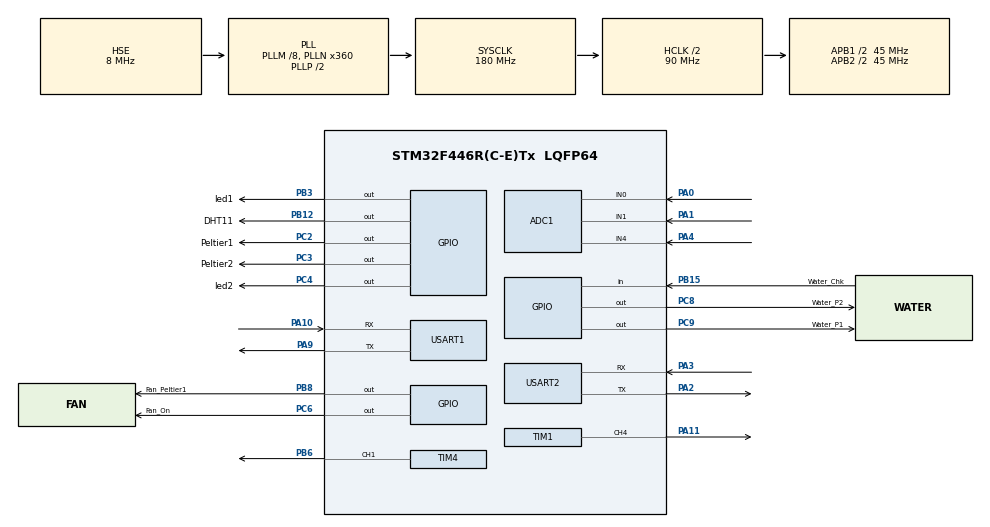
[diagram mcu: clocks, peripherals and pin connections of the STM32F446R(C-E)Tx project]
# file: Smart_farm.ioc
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ADC1.Channel-10\#ChannelRegularConversion=ADC_CHANNEL_0
ADC1.ContinuousConvMode=DISABLE
ADC1.NbrOfConversion=1
ADC1.NbrOfConversionFlag=1
ADC1.Rank-10\#ChannelRegularConversion=1
ADC1.SamplingTime-10\#ChannelRegularConversion=ADC_SAMPLETIME_3CYCLES
ADC1.master=1
Mcu.Family=STM32F4
Mcu.Name=STM32F446R(C-E)Tx
Mcu.Package=LQFP64
NVIC.PriorityGroup=NVIC_PRIORITYGROUP_4
NVIC.TIM1_BRK_TIM9_IRQn=true\:0\:0\:false\:false\:true\:true\:true\:true
NVIC.TIM2_IRQn=true\:0\:0\:false\:true\:true\:2\:true\:true\:true
NVIC.TIM3_IRQn=true\:0\:0\:false\:true\:true\:1\:true\:true\:true
NVIC.TIM5_IRQn=true\:0\:0\:false\:true\:true\:3\:true\:true\:true
NVIC.TIM8_TRG_COM_TIM14_IRQn=true\:15\:0\:false\:false\:true\:false\:true\:true
NVIC.TimeBase=TIM8_TRG_COM_TIM14_IRQn
NVIC.TimeBaseIP=TIM14
PA0-WKUP.Signal=ADCx_IN0
PA1.Signal=ADCx_IN1
PA10.Mode=Asynchronous
PA10.Signal=USART1_RX
PA11.GPIO_Speed=GPIO_SPEED_FREQ_HIGH
PA11.Signal=S_TIM1_CH4
PA13.Mode=Serial_Wire
PA13.Signal=SYS_JTMS-SWDIO
PA14.Mode=Serial_Wire
PA14.Signal=SYS_JTCK-SWCLK
PA2.Mode=Asynchronous
PA2.Signal=USART2_TX
PA3.Mode=Asynchronous
PA3.Signal=USART2_RX
PA4.Signal=ADCx_IN4
PA9.Mode=Asynchronous
PA9.Signal=USART1_TX
PB12.GPIO_Label=DHT11
PB12.GPIO_Speed=GPIO_SPEED_FREQ_VERY_HIGH
PB12.Signal=GPIO_Output
PB15.GPIO_Label=Water_Chk
PB15.Signal=GPIO_Input
PB3.GPIO_Label=led1
PB3.Signal=GPIO_Output
PB6.Signal=S_TIM4_CH1
PB8.GPIO_Label=Fan_Peltier1
PB8.Signal=GPIO_Output
PC14-OSC32_IN.Mode=LSE-External-Oscillator
PC14-OSC32_IN.Signal=RCC_OSC32_IN
PC15-OSC32_OUT.Mode=LSE-External-Oscillator
PC15-OSC32_OUT.Signal=RCC_OSC32_OUT
PC2.GPIO_Label=Peltier1
PC2.Signal=GPIO_Output
PC3.GPIO_Label=Peltier2
PC3.Signal=GPIO_Output
PC4.GPIO_Label=led2
PC4.Signal=GPIO_Output
PC6.GPIO_Label=Fan_On
PC6.Signal=GPIO_Output
PC8.GPIO_Label=Water_P2
PC8.GPIO_Speed=GPIO_SPEED_FREQ_HIGH
PC8.Signal=GPIO_Output
PC9.GPIO_Label=Water_P1
PC9.GPIO_Speed=GPIO_SPEED_FREQ_HIGH
PC9.Signal=GPIO_Output
PH0-OSC_IN.Mode=HSE-External-Oscillator
PH0-OSC_IN.Signal=RCC_OSC_IN
PH1-OSC_OUT.Mode=HSE-External-Oscillator
PH1-OSC_OUT.Signal=RCC_OSC_OUT
ProjectManager.HeapSize=0x200
ProjectManager.StackSize=0x400
ProjectManager.TargetToolchain=STM32CubeIDE
RCC.AHBCLKDivider=RCC_SYSCLK_DIV2
RCC.AHBFreq_Value=90000000
RCC.APB1CLKDivider=RCC_HCLK_DIV2
RCC.APB1Freq_Value=45000000
RCC.APB1TimFreq_Value=90000000
RCC.APB2CLKDivider=RCC_HCLK_DIV2
RCC.APB2Freq_Value=45000000
RCC.APB2TimFreq_Value=90000000
RCC.CortexFreq_Value=90000000
RCC.HCLKFreq_Value=90000000
RCC.HSE_VALUE=8000000
RCC.PLLM=8
RCC.PLLN=360
RCC.PLLSourceVirtual=RCC_PLLSOURCE_HSE
RCC.SYSCLKFreq_VALUE=180000000
RCC.SYSCLKSource=RCC_SYSCLKSOURCE_PLLCLK
RCC.USBFreq_Value=180000000
RCC.VCOOutputFreq_Value=360000000
SH.ADCx_IN0.0=ADC1_IN0,IN0
SH.ADCx_IN1.0=ADC1_IN1,IN1
SH.ADCx_IN4.0=ADC1_IN4,IN4
SH.S_TIM1_CH4.0=TIM1_CH4,PWM Generation4 CH4
SH.S_TIM4_CH1.0=TIM4_CH1,PWM Generation1 CH1
TIM1.Channel-PWM\ Generation4\ CH4=TIM_CHANNEL_4
TIM1.Period=60000-1
TIM1.Prescaler=45-1
TIM2.AutoReloadPreload=TIM_AUTORELOAD_PRELOAD_ENABLE
TIM2.Period=1000-1
TIM2.Prescaler=9000-1
TIM3.Period=60000-1
TIM3.Prescaler=45000-1
TIM4.Channel-PWM\ Generation1\ CH1=TIM_CHANNEL_1
TIM4.Period=15000-1
TIM4.Prescaler=90-1
TIM5.Period=1000-1
TIM5.Prescaler=9000-1
USART1.VirtualMode=VM_ASYNC
USART2.VirtualMode=VM_ASYNC
VP_SYS_VS_tim14.Mode=TIM14
VP_TIM1_VS_ClockSourceINT.Mode=Internal
VP_TIM2_VS_ClockSourceINT.Mode=Internal
VP_TIM3_VS_ClockSourceINT.Mode=Internal
VP_TIM4_VS_ClockSourceINT.Mode=Internal
VP_TIM5_VS_ClockSourceINT.Mode=Internal
VP_TIM6_VS_ClockSourceINT.Mode=Enable_Timer
board=custom

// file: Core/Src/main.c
/* USER CODE BEGIN Header */
/**
  ******************************************************************************
  * @file           : main.c
  * @brief          : Main program body
  ******************************************************************************
  * @attention
  *
  * Copyright (c) 2025 STMicroelectronics.
  * All rights reserved.
  *
  * This software is licensed under terms that can be found in the LICENSE file
  * in the root directory of this software component.
  * If no LICENSE file comes with this software, it is provided AS-IS.
  *
  ******************************************************************************
  */
/* USER CODE END Header */
#include "main.h"
#include "adc.h"
#include "tim.h"
#include "usart.h"
#include "gpio.h"

/* USER CODE BEGIN Includes */
#include <stdio.h>
#include <stdlib.h>
#include <string.h>

#define printf_en 1
#define USART_Ch_1_EN	3
#define Console_Ch2   2
#define dht11_en 3
#define Ch1	1
#define cds_en	2
#define co2_en	3
#define w_height_en	4
#define servo_en 5
#define water_pump_en 	6
#define fan_en 6
#define light_en 6
#define pelt_en 6
#include "my_library.h"

#define Out_Bit(port, pin, out_data_bits) HAL_GPIO_WritePin(port, pin, out_data_bits)
#define MAX_VALUES 4
#define MAX_STR_LEN 20

/* USER CODE END Includes */

/* USER CODE BEGIN PTD */
char Test_Msg[16];
char pass_sig[] = "Pass\r\n";
char msg_to_Rpi[64];
char Cmd_Msg[80];
extern int Cmd_values[4];
char message[16];
uint8_t Sensor_flag = 0;
uint8_t act_flag =0;

static void MX_NVIC_Init(void);
struct Sensor_Value{
	  float TEMP;		// 온도
	  float RH;			// 습도
	  float lux ;				// 밝기
	  float co2 ;				// c02 ppm
	  float w_1;		// 둘 중 하나
}sen_val = {0.0, 0.0, 0.0, 0.0, 0.0};
struct Sensor_Value *sen_v = &sen_val;

struct flags{
	uint8_t water_sensor_flag;
	uint8_t timer1;
	uint8_t timer2;
}FLAGS = {0,0,0};
struct flags *flag = &FLAGS;

extern ADC_HandleTypeDef hadc1;
uint8_t read_temp = 0;
void HAL_TIM_MspPostInit(TIM_HandleTypeDef *htim);
/* USER CODE END PTD */

void SystemClock_Config(void);
static void MX_NVIC_Init(void);

int main(void)
{

  /* MCU Configuration--------------------------------------------------------*/

  /* Reset of all peripherals, Initializes the Flash interface and the Systick. */
  HAL_Init();

  /* Configure the system clock */
  SystemClock_Config();

  /* Initialize all configured peripherals */
  MX_GPIO_Init();
  MX_TIM6_Init();
  MX_USART1_UART_Init();
  MX_USART2_UART_Init();
  MX_ADC1_Init();
  MX_TIM1_Init();
  MX_TIM2_Init();
  MX_TIM3_Init();
  MX_TIM4_Init();
  MX_TIM5_Init();

  /* Initialize interrupts */
  MX_NVIC_Init();
  /* USER CODE BEGIN 2 */
  HAL_TIM_Base_Start_IT(&htim6);
  HAL_TIM_Base_Start(&htim1);
  HAL_TIM_Base_Start_IT(&htim3);
  HAL_TIM_Base_Start_IT(&htim5);

  HAL_ADC_Start(&hadc1);
  HAL_ADC_PollForConversion(&hadc1, HAL_MAX_DELAY);
  //HAL_TIM_PWM_Start(&htim1, TIM_CHANNEL_3);

  uint8_t adc_value = 0;

  HAL_TIM_Base_Start_IT(&htim2);
  HAL_TIM_PWM_Start(&htim4, TIM_CHANNEL_1);
  fan_off();
  Water_P1_Stop();
  Water_P2_Stop();
  //light_off();
//  printf("Warming up RX-9 Sensor    \r\n");
//  HAL_Delay(180000);

  /* USER CODE END 2 */

  /* Infinite loop */
  /* USER CODE BEGIN WHILE */
  while (1)
  {

	  			  float TEMP1 = DHT11_Run_TEMP();		// 온도
	  			  float RH1 = DHT11_Run_RH();			// 습도
	  			  float lux1 = read_light();
	  			  printf("TEMP : %.1f RH : %.1f lux : %.1f\r\n", TEMP1, RH1, lux1);
	  //serial input에 따라
	  //receive start data	= STM32 Test Mode\n

//	  if( Sensor_flag == 0)
//	  {
//		  printf("Waiting Rpi Test Mode Msg\r\n");
//		  if(HAL_UART_Receive(&huart1, (uint8_t *)Test_Msg, 16, 1000)== HAL_OK)
//		  {
//			  printf("pass1\r\n");
//
//			  Test_Msg[15] = '\0'; // 강제로 문자열 종료
//			  printf("Received data = %s\r\n", Test_Msg);
//			  float TEMP1 = DHT11_Run_TEMP();		// 온도
//			  float RH1 = DHT11_Run_RH();			// 습도
//			  float lux1 = read_light();
//			  printf("TEMP : %.1f RH : %.1f lux : %.1f\r\n", TEMP1, RH1, lux1);
//			  if (strcmp(Test_Msg, "\nSTM32 Test Mod") == 0)
//			  {
//				  printf("pass2\r\n");
//				  if(DHT11_Sensor_Test()&&check_light())
//				  {
//					  Sensor_flag = 1;
//					  printf("Sensor Check Complete\r\n");
//					  HAL_UART_Transmit(&huart1, (uint8_t*)pass_sig, strlen(pass_sig), 10);
//
//				  }
//			  }
//		  }
//	  }
//	  else
//	  {
//		  //물 순환 시작
//		  //인터럽트로 1분마다 읽게 만들거
//		  float TEMP = DHT11_Run_TEMP();		// 온도
//		  float RH = DHT11_Run_RH();			// 습도
//		  float lux = read_light_lux();				// 전압값(0~4096)
//		  float co2 = read_co2();				// c02 ppm
//	  	  float w_1 = isWaterDetected1();		// 둘 중 하나 -> 타이머 인터럽트
//	  	  read_temp++;
//	  	  act_flag = 0;
//
//		  // 보내야할 값 4개
//		  // 둘 중 하나 사용
//		  printf("TEMP : %.1f RH : %.1f co2 : %.1f lux : %.1f water : %.1f\r\n", TEMP, RH, co2, lux,w_1);
//		  printf("read_temp  = %d\r\n", read_temp);
//		  //tim 인터럽트로 인해 flag ==1로 만들어서 값 보내기
//		  if(TEMP && read_temp == 6){
//			  // co2,w_height level 반환 대신 그냥 adc값 반환하도록 변경해야됨
//			  // 둘 중 하나 사용
//			  read_temp = 0;
//			  sprintf(msg_to_Rpi, "%.1f,%.1f,%.1f,%.1f,%.1f\r\n", TEMP, RH,co2,lux,w_1);
//			  HAL_UART_Transmit(&huart1, (char *)msg_to_Rpi, strlen(msg_to_Rpi), 10);
//		  }
//		  	  // 제어 신호 받으면?????
//		  if(HAL_UART_Receive(&huart1, (uint8_t *)Cmd_Msg, 8, 1000)== HAL_OK)
//		  {
//			  //제어 명령어 -  팬+팰티어, led. 팬, 모터 센서(급수)
//			  printf("Received data\r\n");
//			  Cmd_Msg[8] = '\0';
//			  printf("Cmd_Msg = %s",Cmd_Msg); // 강제로 문자열 종료
//			  parse_fixed_csv(Cmd_Msg);
//			  for (int i = 0; i < 4; i++)
//			  {
//				  printf("Cmd_values[%d] = %d\r\n", i, Cmd_values[i]);  // 문제 잡기 물 센서 위치에 따라
//			  }
//	  	  	  process_commands(Cmd_values);
//
//		  }
//		  else{
//			  printf("Receive stage pass\r\n");
//		  }
//		  HAL_Delay(5000);		//1분
//	  }
//	  HAL_Delay(5000);			//5초
  }

    /* USER CODE END WHILE */

}

void SystemClock_Config(void)
{
  RCC_OscInitTypeDef RCC_OscInitStruct = {0};
  RCC_ClkInitTypeDef RCC_ClkInitStruct = {0};

  /** Configure the main internal regulator output voltage
  */
  __HAL_RCC_PWR_CLK_ENABLE();
  __HAL_PWR_VOLTAGESCALING_CONFIG(PWR_REGULATOR_VOLTAGE_SCALE3);

  /** Initializes the RCC Oscillators according to the specified parameters
  * in the RCC_OscInitTypeDef structure.
  */
  RCC_OscInitStruct.OscillatorType = RCC_OSCILLATORTYPE_HSE;
  RCC_OscInitStruct.HSEState = RCC_HSE_ON;
  RCC_OscInitStruct.PLL.PLLState = RCC_PLL_ON;
  RCC_OscInitStruct.PLL.PLLSource = RCC_PLLSOURCE_HSE;
  RCC_OscInitStruct.PLL.PLLM = 8;
  RCC_OscInitStruct.PLL.PLLN = 360;
  RCC_OscInitStruct.PLL.PLLP = RCC_PLLP_DIV2;
  RCC_OscInitStruct.PLL.PLLQ = 2;
  RCC_OscInitStruct.PLL.PLLR = 2;
  if (HAL_RCC_OscConfig(&RCC_OscInitStruct) != HAL_OK)
  {
    Error_Handler();
  }

  /** Initializes the CPU, AHB and APB buses clocks
  */
  RCC_ClkInitStruct.ClockType = RCC_CLOCKTYPE_HCLK|RCC_CLOCKTYPE_SYSCLK
                              |RCC_CLOCKTYPE_PCLK1|RCC_CLOCKTYPE_PCLK2;
  RCC_ClkInitStruct.SYSCLKSource = RCC_SYSCLKSOURCE_PLLCLK;
  RCC_ClkInitStruct.AHBCLKDivider = RCC_SYSCLK_DIV2;
  RCC_ClkInitStruct.APB1CLKDivider = RCC_HCLK_DIV2;
  RCC_ClkInitStruct.APB2CLKDivider = RCC_HCLK_DIV2;

  if (HAL_RCC_ClockConfig(&RCC_ClkInitStruct, FLASH_LATENCY_2) != HAL_OK)
  {
    Error_Handler();
  }
}

/**
  * @brief NVIC Configuration.
  * @retval None
  */
static void MX_NVIC_Init(void)
{
  /* TIM3_IRQn interrupt configuration */
  HAL_NVIC_SetPriority(TIM3_IRQn, 0, 0);
  HAL_NVIC_EnableIRQ(TIM3_IRQn);
  /* TIM2_IRQn interrupt configuration */
  HAL_NVIC_SetPriority(TIM2_IRQn, 0, 0);
  HAL_NVIC_EnableIRQ(TIM2_IRQn);
  /* TIM5_IRQn interrupt configuration */
  HAL_NVIC_SetPriority(TIM5_IRQn, 0, 0);
  HAL_NVIC_EnableIRQ(TIM5_IRQn);
}

/* USER CODE BEGIN 4 */
int num = 0;

/* USER CODE END 4 */

void HAL_TIM_PeriodElapsedCallback(TIM_HandleTypeDef *htim)
{
  /* USER CODE BEGIN Callback 0 */

	if (htim->Instance == TIM2)
	{//	0.1s	급수
		if(Sensor_flag == 1)
		{

			uint16_t lux = read_light_lux();
			float w_2 = isWaterDetected1();
			light_on(lux);
			//printf("w = %.1f\r\n", w_2);
			if(w_2 == 0.0){
				Water_P1_Start(); //급수
			}else{
				Water_P1_Stop();
			}
		}
	}
	if (htim->Instance == TIM3)
	{// 60s
		printf("1min pass\r\n");
		(flag->timer1)+=1;

		if(flag->timer1 == 5){	//1분마다
			(flag->timer2)++;			//timer2++
			flag->timer1 = 0;			//30초
			if(flag->timer2 == 1){
				flag->water_sensor_flag = 1;
				flag->timer2 = 0;
			}
		}else{
			flag->water_sensor_flag = 0;
		}
	}
	if (htim->Instance == TIM5)
	{	// 10s

		if(Sensor_flag == 1){

			if(flag->water_sensor_flag == 1){
				Water_P2_Start();

			}else{
				Water_P2_Stop();
			}
		}
	}

  /* USER CODE END Callback 0 */
  if (htim->Instance == TIM14)
  {
    HAL_IncTick();
  }
}

void Error_Handler(void)
{
  __disable_irq();
  while (1)
  {
  }
}
